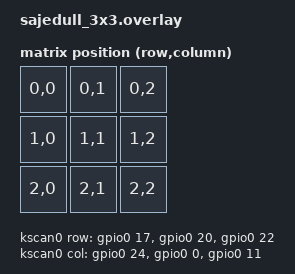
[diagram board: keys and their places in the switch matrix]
#include <dt-bindings/zmk/matrix_transform.h>

/ {
    chosen {
        zmk,kscan = &kscan0;
        zmk,matrix_transform = &default_transform;
        zmk,battery = &vbatt;
    };

    kscan0: kscan {
        compatible = "zmk,kscan-gpio-matrix";

        diode-direction = "col2row";

        row-gpios =
            <&gpio0 17 GPIO_ACTIVE_HIGH>,
            <&gpio0 20 GPIO_ACTIVE_HIGH>,
            <&gpio0 22 GPIO_ACTIVE_HIGH>;

        col-gpios =
            <&gpio0 24 GPIO_ACTIVE_HIGH>,
            <&gpio0 0 GPIO_ACTIVE_HIGH>,
            <&gpio0 11 GPIO_ACTIVE_HIGH>;
    };

    default_transform: matrix_transform {
        compatible = "zmk,matrix-transform";

        columns = <3>;
        rows = <3>;

        map = <
            RC(0,0) RC(0,1) RC(0,2)
            RC(1,0) RC(1,1) RC(1,2)
            RC(2,0) RC(2,1) RC(2,2)
        >;
    };

    vbatt: vbatt {
        compatible = "zmk,battery-voltage-divider";
        label = "BATTERY";

        io-channels = <&adc 2>;

        output-ohms = <2000000>;
        full-ohms = <2806000>;
    };
};

&adc {
    status = "okay";
};
